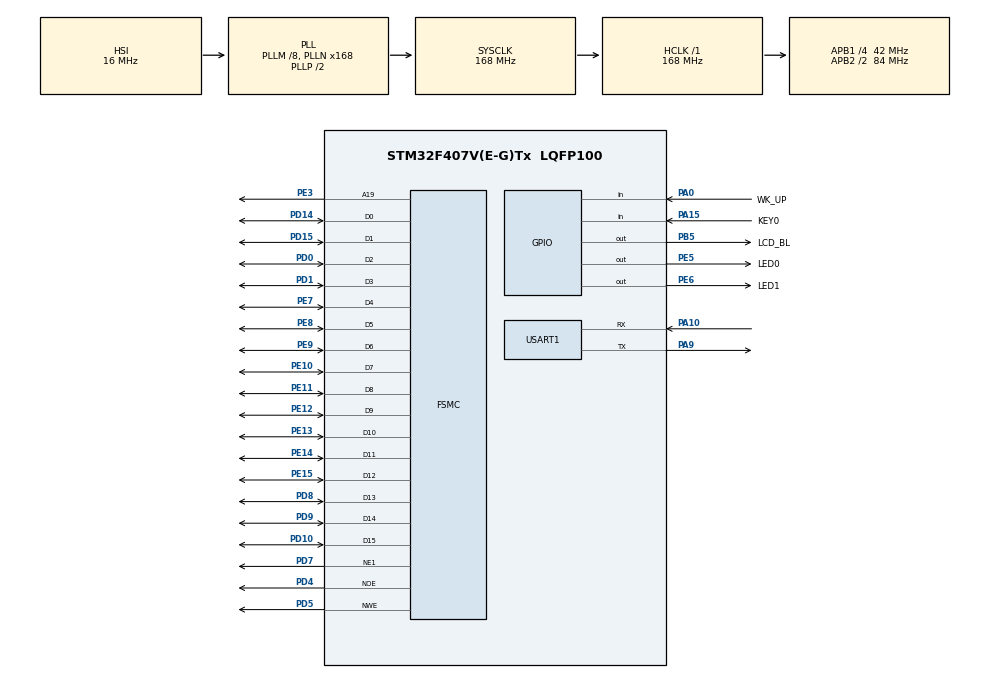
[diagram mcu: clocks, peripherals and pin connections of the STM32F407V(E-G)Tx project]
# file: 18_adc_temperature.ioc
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ADC1.Channel-0\#ChannelRegularConversion=ADC_CHANNEL_TEMPSENSOR
ADC1.EOCSelection=ADC_EOC_SEQ_CONV
ADC1.NbrOfConversionFlag=1
ADC1.Rank-0\#ChannelRegularConversion=1
ADC1.SamplingTime-0\#ChannelRegularConversion=ADC_SAMPLETIME_480CYCLES
ADC1.master=1
FSMC.AddressSetupTime1=15
FSMC.BusTurnAroundDuration1=0
FSMC.DataSetupTime1=60
FSMC.ExtendedAddressSetupTime1=9
FSMC.ExtendedDataSetupTime1=9
FSMC.ExtendedMode1=FSMC_EXTENDED_MODE_ENABLE
Mcu.Family=STM32F4
Mcu.Name=STM32F407V(E-G)Tx
Mcu.Package=LQFP100
NVIC.PriorityGroup=NVIC_PRIORITYGROUP_2
NVIC.USART1_IRQn=true\:2\:2\:true\:false\:true\:true\:true\:true
PA0-WKUP.GPIO_Label=WK_UP
PA0-WKUP.GPIO_PuPd=GPIO_PULLDOWN
PA0-WKUP.Signal=GPIO_Input
PA10.Mode=Asynchronous
PA10.Signal=USART1_RX
PA13.Mode=Serial_Wire
PA13.Signal=SYS_JTMS-SWDIO
PA14.Mode=Serial_Wire
PA14.Signal=SYS_JTCK-SWCLK
PA15.GPIO_Label=KEY0
PA15.GPIO_PuPd=GPIO_PULLDOWN
PA15.Signal=GPIO_Input
PA9.Mode=Asynchronous
PA9.Signal=USART1_TX
PB5.GPIO_Label=LCD_BL
PB5.GPIO_PuPd=GPIO_PULLUP
PB5.GPIO_Speed=GPIO_SPEED_FREQ_HIGH
PB5.PinState=GPIO_PIN_SET
PB5.Signal=GPIO_Output
PC14-OSC32_IN.Mode=LSE-External-Oscillator
PC14-OSC32_IN.Signal=RCC_OSC32_IN
PC15-OSC32_OUT.Mode=LSE-External-Oscillator
PC15-OSC32_OUT.Signal=RCC_OSC32_OUT
PD0.Mode=16b-d1
PD0.Signal=FSMC_D2
PD1.Mode=16b-d1
PD1.Signal=FSMC_D3
PD10.Mode=16b-d1
PD10.Signal=FSMC_D15
PD14.Mode=16b-d1
PD14.Signal=FSMC_D0
PD15.Mode=16b-d1
PD15.Signal=FSMC_D1
PD4.Mode=Lcd1
PD4.Signal=FSMC_NOE
PD5.Mode=Lcd1
PD5.Signal=FSMC_NWE
PD7.Mode=NorPsramChipSelect1_1
PD7.Signal=FSMC_NE1
PD8.Mode=16b-d1
PD8.Signal=FSMC_D13
PD9.Mode=16b-d1
PD9.Signal=FSMC_D14
PE10.Mode=16b-d1
PE10.Signal=FSMC_D7
PE11.Mode=16b-d1
PE11.Signal=FSMC_D8
PE12.Mode=16b-d1
PE12.Signal=FSMC_D9
PE13.Mode=16b-d1
PE13.Signal=FSMC_D10
PE14.Mode=16b-d1
PE14.Signal=FSMC_D11
PE15.Mode=16b-d1
PE15.Signal=FSMC_D12
PE3.Mode=A19_1
PE3.Signal=FSMC_A19
PE5.GPIO_Label=LED0
PE5.GPIO_PuPd=GPIO_PULLUP
PE5.GPIO_Speed=GPIO_SPEED_FREQ_HIGH
PE5.PinState=GPIO_PIN_SET
PE5.Signal=GPIO_Output
PE6.GPIO_Label=LED1
PE6.GPIO_PuPd=GPIO_PULLUP
PE6.GPIO_Speed=GPIO_SPEED_FREQ_HIGH
PE6.PinState=GPIO_PIN_SET
PE6.Signal=GPIO_Output
PE7.Mode=16b-d1
PE7.Signal=FSMC_D4
PE8.Mode=16b-d1
PE8.Signal=FSMC_D5
PE9.Mode=16b-d1
PE9.Signal=FSMC_D6
PH0-OSC_IN.Mode=HSE-External-Oscillator
PH0-OSC_IN.Signal=RCC_OSC_IN
PH1-OSC_OUT.Mode=HSE-External-Oscillator
PH1-OSC_OUT.Signal=RCC_OSC_OUT
ProjectManager.HeapSize=0x200
ProjectManager.StackSize=0x400
ProjectManager.TargetToolchain=STM32CubeIDE
RCC.48MHZClocksFreq_Value=84000000
RCC.AHBFreq_Value=168000000
RCC.APB1CLKDivider=RCC_HCLK_DIV4
RCC.APB1Freq_Value=42000000
RCC.APB1TimFreq_Value=84000000
RCC.APB2CLKDivider=RCC_HCLK_DIV2
RCC.APB2Freq_Value=84000000
RCC.APB2TimFreq_Value=168000000
RCC.CortexFreq_Value=168000000
RCC.HCLKFreq_Value=168000000
RCC.HSE_VALUE=25000000
RCC.HSI_VALUE=16000000
RCC.PLLM=8
RCC.PLLN=168
RCC.SYSCLKFreq_VALUE=168000000
RCC.SYSCLKSource=RCC_SYSCLKSOURCE_PLLCLK
RCC.VCOOutputFreq_Value=336000000
USART1.VirtualMode=VM_ASYNC
VP_ADC1_TempSens_Input.Mode=IN-TempSens
board=custom

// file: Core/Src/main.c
/**
 ****************************************************************************************************
 * @file        main.c
 * @author      ALIENTEK
 * @brief       adc_temperature code
 * @license     Copyright (C) 2012-2024, ALIENTEK
 ****************************************************************************************************
 * @attention
 *
 * platform     : ALIENTEK M100-STM32F407 board
 * website      : www.alientek.com
 * forum        : www.openedv.com/forum.php
 *
 * change logs  :
 * version      data         notes
 * V1.0         20240409     the first version
 *
 ****************************************************************************************************
 */

 /* USER CODE BEGIN Header */

/* USER CODE END Header */
#include "main.h"
#include "adc.h"
#include "usart.h"
#include "gpio.h"
#include "fsmc.h"

/* USER CODE BEGIN Includes */
#include "../../BSP/LED/led.h"
#include "../../BSP/KEY/key.h"
#include "../../BSP/LCD/lcd.h"
/* USER CODE END Includes */

/* USER CODE BEGIN PD */
/**
 * @brief   Displays information about the experiment
 * @param   None
 * @retval  None
 */
void stm32f407vg_show_mesg(void)
{
	/* The serial port outputs the experimental information */
	printf("\n");
	printf("********************************\r\n");
	printf("STM32F407\r\n");
	printf("Temperature Test\r\n");
	printf("ATOM@ALIENTEK\r\n");
	printf("********************************\r\n");
	printf("\r\n");
}
/* USER CODE END PD */

void SystemClock_Config(void);

int main(void)
{
  /* USER CODE BEGIN 1 */
  int16_t temperature;
  /* USER CODE END 1 */

  /* MCU Configuration--------------------------------------------------------*/

  /* Reset of all peripherals, Initializes the Flash interface and the Systick. */
  HAL_Init();

  /* Configure the system clock */
  SystemClock_Config();

  /* Initialize all configured peripherals */
  MX_GPIO_Init();
  MX_USART1_UART_Init();
  MX_FSMC_Init();
  MX_ADC1_Init();
  /* USER CODE BEGIN 2 */
  lcd_init();                                         /* Initialize LCD */
  stm32f407vg_show_mesg();
  lcd_show_string(30, 50, 200, 16, 16, "STM32", RED);
  lcd_show_string(30, 70, 200, 16, 16, "Temperature TEST", RED);
  lcd_show_string(30, 90, 200, 16, 16, "ATOM@ALIENTEK", RED);

  lcd_show_string(30, 110, 200, 16, 16, "TEMPERATE: 00.00C", BLUE);
  /* USER CODE END 2 */

  /* Infinite loop */
  /* USER CODE BEGIN WHILE */
  while (1)
  {
	  temperature = adc_get_temperature();  /* Get the internal temperature sensor temperature value */

	  if (temperature < 0)
	  {
	  	  temperature = -temperature;
	  	  lcd_show_string(30 + 10 * 8, 110, 16, 16, 16, "-", BLUE);
	  }
	  else
	  {
	  	  lcd_show_string(30 + 10 * 8, 110, 16, 16, 16, " ", BLUE);
	  }

	  lcd_show_xnum(30 + 11 * 8, 110, temperature / 100, 2, 16, 0, BLUE);
	  lcd_show_xnum(30 + 14 * 8, 110, temperature % 100, 2, 16, 0x80, BLUE);

	  LED0_TOGGLE();             /* flashing LED0 indicates that the system is running */
	  HAL_Delay(1000);   		 /* delay 1000ms */
    /* USER CODE END WHILE */

  }
}

void SystemClock_Config(void)
{
  RCC_OscInitTypeDef RCC_OscInitStruct = {0};
  RCC_ClkInitTypeDef RCC_ClkInitStruct = {0};

  /** Configure the main internal regulator output voltage
  */
  __HAL_RCC_PWR_CLK_ENABLE();
  __HAL_PWR_VOLTAGESCALING_CONFIG(PWR_REGULATOR_VOLTAGE_SCALE1);

  /** Initializes the RCC Oscillators according to the specified parameters
  * in the RCC_OscInitTypeDef structure.
  */
  RCC_OscInitStruct.OscillatorType = RCC_OSCILLATORTYPE_HSI;
  RCC_OscInitStruct.HSIState = RCC_HSI_ON;
  RCC_OscInitStruct.HSICalibrationValue = RCC_HSICALIBRATION_DEFAULT;
  RCC_OscInitStruct.PLL.PLLState = RCC_PLL_ON;
  RCC_OscInitStruct.PLL.PLLSource = RCC_PLLSOURCE_HSI;
  RCC_OscInitStruct.PLL.PLLM = 8;
  RCC_OscInitStruct.PLL.PLLN = 168;
  RCC_OscInitStruct.PLL.PLLP = RCC_PLLP_DIV2;
  RCC_OscInitStruct.PLL.PLLQ = 4;
  if (HAL_RCC_OscConfig(&RCC_OscInitStruct) != HAL_OK)
  {
    Error_Handler();
  }

  /** Initializes the CPU, AHB and APB buses clocks
  */
  RCC_ClkInitStruct.ClockType = RCC_CLOCKTYPE_HCLK|RCC_CLOCKTYPE_SYSCLK
                              |RCC_CLOCKTYPE_PCLK1|RCC_CLOCKTYPE_PCLK2;
  RCC_ClkInitStruct.SYSCLKSource = RCC_SYSCLKSOURCE_PLLCLK;
  RCC_ClkInitStruct.AHBCLKDivider = RCC_SYSCLK_DIV1;
  RCC_ClkInitStruct.APB1CLKDivider = RCC_HCLK_DIV4;
  RCC_ClkInitStruct.APB2CLKDivider = RCC_HCLK_DIV2;

  if (HAL_RCC_ClockConfig(&RCC_ClkInitStruct, FLASH_LATENCY_5) != HAL_OK)
  {
    Error_Handler();
  }
}

void Error_Handler(void)
{
  __disable_irq();
  while (1)
  {
  }
}
